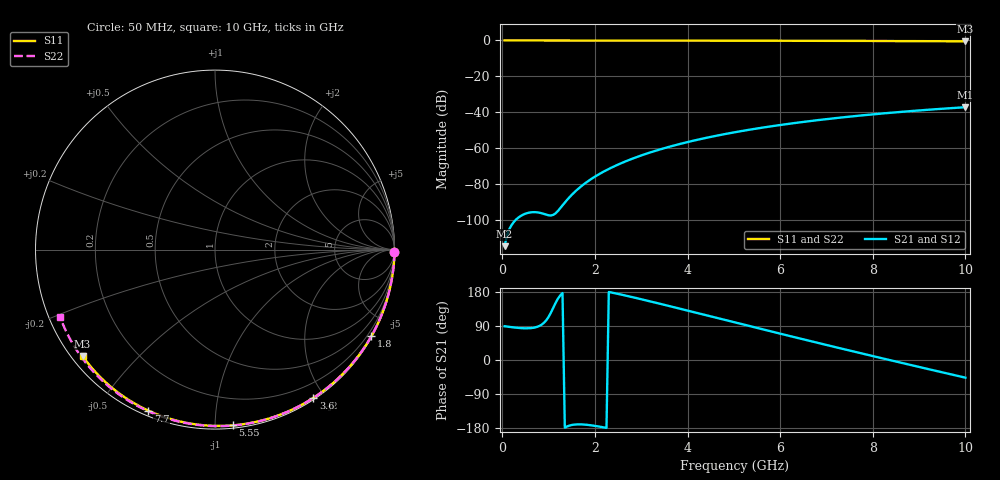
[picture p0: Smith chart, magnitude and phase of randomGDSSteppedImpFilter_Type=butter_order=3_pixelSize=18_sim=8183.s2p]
! freq	dB(S11)	phase(S11)	dB(S12)	phase(S12)
!  dB(S21)	phase(S21)	dB(S22)	phase(S22)
!S-par simulation data
#  GHz  S  DB  R 50
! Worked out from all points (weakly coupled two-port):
!   200 points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, 50 MHz to 10 GHz, reference 50 ohm
!   highest |S21| = -37.25 dB at 10 GHz (marker M1); lowest = -114.8 dB at 50 MHz (marker M2)
!   lowest |S11| = -0.5 dB at 10 GHz (marker M3), VSWR 36.30, Z = 1.55 - j17.6 ohm
!   |S11| at or under -10 dB: nowhere
!   |S22| runs from -0.5 to 0.0 dB; largest |S21 - S12| = 0
!   S11 on the Smith chart (normalised r, x): 50 MHz: open; 1.8 GHz: 0.03, -3.88; 3.6 GHz: 0.02, -1.86; 5.55 GHz: 0.02, -1.11; 7.7 GHz: 0.02, -0.67; 10 GHz: 0.03, -0.35
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0.05  -0.00 -0.8  -114.79 89.1  -114.79 89.1  -0.00 -0.9
0.45  -0.01 -7.3  -97.19 83.8  -97.19 83.8  -0.01 -8.2
0.9  -0.02 -14.6  -96.80 98.2  -96.80 98.2  -0.02 -16.2
1.3  -0.03 -21.0  -92.04 176.7  -92.04 176.7  -0.03 -23.3
1.75  -0.04 -28.2  -80.44 -170.2  -80.44 -170.2  -0.04 -31.2
1.8  -0.04 -28.9  -79.47 -170.7  -79.47 -170.7  -0.04 -32.1
1.95  -0.04 -31.3  -76.81 -172.9  -76.81 -172.9  -0.04 -34.7
2.1  -0.04 -33.6  -74.46 -175.8  -74.46 -175.8  -0.05 -37.3
2.3  -0.05 -36.8  -71.70 179.6  -71.70 179.6  -0.05 -40.7
2.5  -0.05 -39.9  -69.26 174.4  -69.26 174.4  -0.06 -44.2
2.9  -0.06 -46.0  -65.09 163.3  -65.09 163.3  -0.07 -50.9
3.4  -0.07 -53.5  -60.85 148.6  -60.85 148.6  -0.08 -59.2
3.6  -0.08 -56.5  -59.37 142.6  -59.37 142.6  -0.08 -62.5
4.3  -0.09 -66.7  -54.91 121.3  -54.91 121.3  -0.10 -73.7
5.05  -0.12 -77.4  -51.08 98.3  -51.08 98.3  -0.13 -85.4
5.55  -0.14 -84.3  -48.91 83.1  -48.91 83.1  -0.15 -92.9
6.1  -0.16 -91.7  -46.82 66.5  -46.82 66.5  -0.18 -101.1
6.7  -0.19 -99.6  -44.81 48.6  -44.81 48.6  -0.21 -109.8
7.7  -0.26 -112.5  -41.98 19.1  -41.98 19.1  -0.29 -124.0
8.35  -0.31 -120.7  -40.42 0.2  -40.42 0.2  -0.34 -133.2
9.2  -0.39 -131.3  -38.66 -24.0  -38.66 -24.0  -0.43 -145.1
10  -0.48 -141.2  -37.25 -46.6  -37.25 -46.6  -0.53 -156.4
